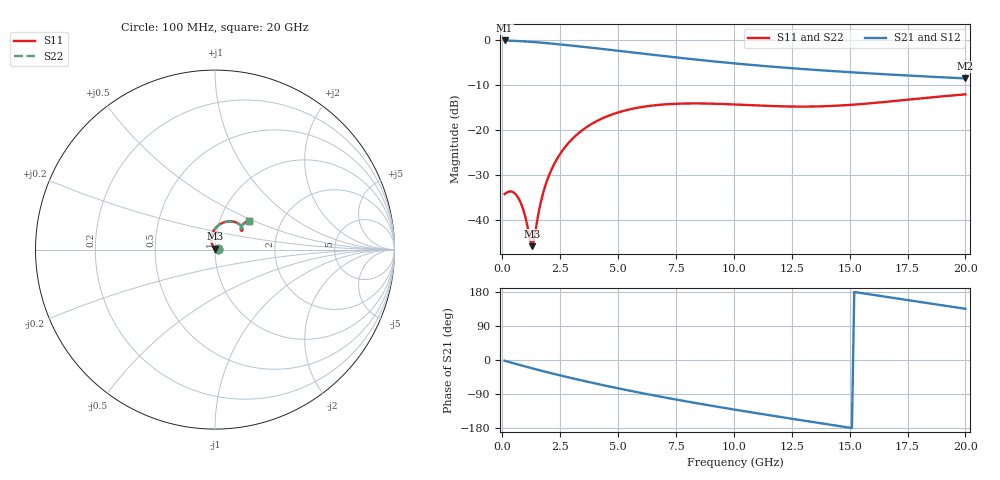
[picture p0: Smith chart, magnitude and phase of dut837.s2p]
! Touchstone file exported from HFSS 2024.1.0
!  File:  C:/UserFiles/LocalFiles/RDL_TSV_Batchsim/temp_RDL_TSV_837_1779919117.aedt
!  Generated:  06:11:25 AM May 28, 2026
!  Design:  RDL_TSV
!  Project:  temp_RDL_TSV_837_1779919117
!  Setup:  Setup1
!  Solution:  Sweep
! Variables:
!  dtsv = 7.86um
!  hbump = 3um
!  htsv = 56.19um
!  ldown = 542.68um
!  lrdl = 507.6um
!  p = 40
!  p1 = 42.39um
!  rhole = 10um
!  subl = 3658.44um
!  t = 450um
!  tdown = 3.22um
!  trdl = 2.17um
!  viad = 10um
!  wdown = 29.85um
!  wrdl = 27.43um
!  xbump = 18um
# GHz S MA R 50.000000
! Terminal data exported
! Port[1] = TM1_1_T1
! Port[2] = TM1_4_T1
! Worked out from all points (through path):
!   200 points, 100 MHz to 20 GHz, reference 50 ohm
!   highest |S21| = -0.17 dB at 100 MHz (marker M1); lowest = -8.6 dB at 20 GHz (marker M2)
!   group delay of S21, straight-line fit = 29.9 ps
!   lowest |S11| = -45.9 dB at 1.3 GHz (marker M3), VSWR 1.01, Z = 50.3 + j0.442 ohm
!   |S11| at or under -10 dB: start of sweep to end of sweep
!   |S22| runs from -45.9 to -12.2 dB; largest |S21 - S12| = 1.1e-14
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0.1  0.01927 3.4  0.9804 -1.8  0.9804 -1.8  0.01927 3.4
! Gamma 0 0 0 0
! Port Impedance 50 0 50 0
0.4  0.02058 2.7  0.9739 -7.1  0.9739 -7.1  0.02058 2.7
0.7  0.01731 -2.0  0.9656 -12.2  0.9656 -12.2  0.0173 -2.0
0.9  0.01312 -1.7  0.9592 -15.6  0.9592 -15.6  0.01312 -1.7
1  0.01066 1.3  0.9558 -17.2  0.9558 -17.2  0.01065 1.3
1.2  0.005929 26.4  0.9482 -20.5  0.9482 -20.5  0.005932 26.5
1.3  0.00508 60.0  0.9441 -22.1  0.9441 -22.1  0.005097 60.2
1.4  0.006552 92.1  0.9399 -23.7  0.9399 -23.7  0.006575 92.1
1.6  0.01319 115.2  0.931 -26.9  0.931 -26.9  0.01321 115.1
1.7  0.01718 118.3  0.9263 -28.5  0.9263 -28.5  0.0172 118.2
1.9  0.02579 119.4  0.9167 -31.6  0.9167 -31.6  0.02581 119.3
2.1  0.0349 117.9  0.9067 -34.7  0.9067 -34.7  0.03492 117.8
2.7  0.06354 109.0  0.8754 -43.6  0.8754 -43.6  0.06356 108.9
3.5  0.1007 95.7  0.8326 -54.9  0.8326 -54.9  0.1007 95.6
4.9  0.1526 75.1  0.7585 -73.5  0.7585 -73.5  0.1526 75.0
6.8  0.1891 54.5  0.6661 -96.4  0.6661 -96.4  0.1891 54.3
8.4  0.1958 43.1  0.6001 -114.1  0.6001 -114.1  0.1959 42.9
10.1  0.1903 36.5  0.543 -131.6  0.543 -131.6  0.1904 36.2
11.7  0.1829 35.0  0.5001 -147.3  0.5001 -147.3  0.183 34.7
13.4  0.1809 37.1  0.4636 -163.6  0.4636 -163.6  0.1807 36.7
16.7  0.2054 42.3  0.4104 165.5  0.4104 165.5  0.2046 41.8
20  0.2468 40.2  0.3713 135.2  0.3713 135.2  0.2455 39.7
